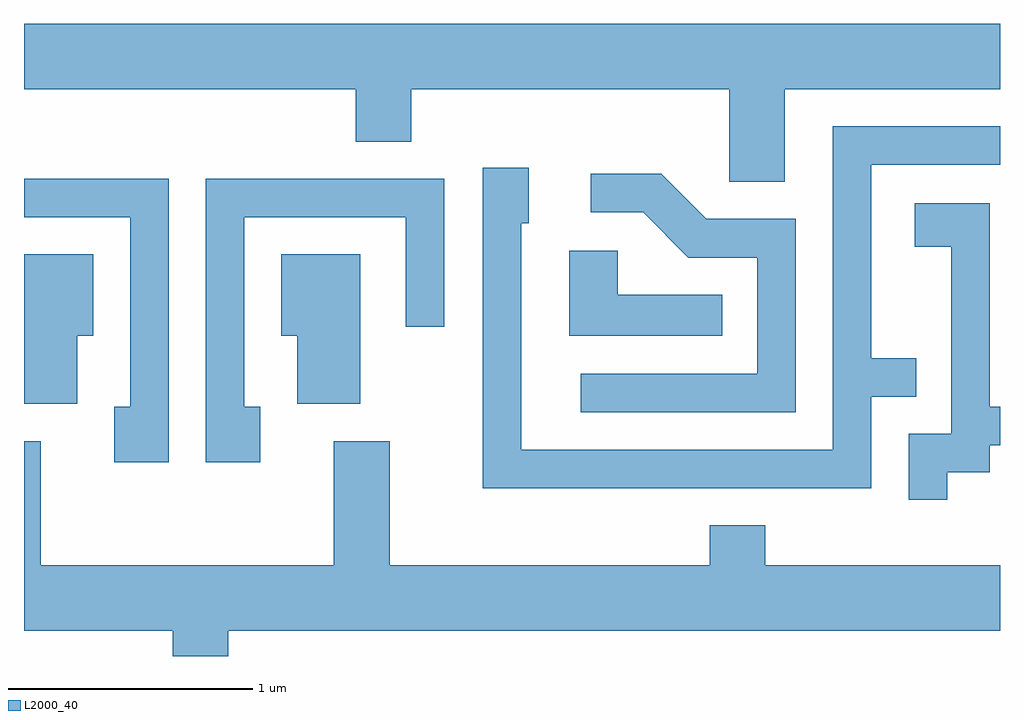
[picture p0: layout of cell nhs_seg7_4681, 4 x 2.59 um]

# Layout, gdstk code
import gdstk
lib = gdstk.Library(unit=1e-6, precision=1e-09)
def P(c, l, *ps):  # polygons
    for p in ps: c.add(gdstk.Polygon(p, *l))
L2000_40 = (2000, 40)

nhs_seg7_4681 = lib.new_cell('nhs_seg7_4681')
P(nhs_seg7_4681, L2000_40, [(332.729,1676.576),(333.611,1676.576),(333.611,1676.844),(329.611,1676.844),(329.611,1676.576),(330.971,1676.576),(330.971,1676.361),(331.199,1676.361),(331.199,1676.576),(332.501,1676.576),(332.501,1676.196),(332.729,1676.196)],
  [(333.084,1675.316),(333.268,1675.316),(333.268,1675.474),(333.084,1675.474),(333.084,1676.266),(333.611,1676.266),(333.611,1676.424),(332.926,1676.424),(332.926,1675.099),(331.649,1675.099),(331.649,1676.026),(331.679,1676.026),(331.679,1676.254),(331.491,1676.254),(331.491,1674.941),(333.084,1674.941)],
  [(332.774,1676.044),(332.407,1676.044),(332.222,1676.229),(331.933,1676.229),(331.933,1676.071),(332.149,1676.071),(332.334,1675.886),(332.616,1675.886),(332.616,1675.409),(331.893,1675.409),(331.893,1675.251),(332.774,1675.251)],
  [(330.579,1675.274),(330.514,1675.274),(330.514,1676.051),(331.176,1676.051),(331.176,1675.603),(331.334,1675.603),(331.334,1676.209),(330.356,1676.209),(330.356,1675.046),(330.579,1675.046)],
  [(330.204,1676.209),(329.611,1676.209),(329.611,1676.051),(330.046,1676.051),(330.046,1675.274),(329.981,1675.274),(329.981,1675.046),(330.204,1675.046)],
  [(333.394,1675.006),(333.569,1675.006),(333.569,1675.116),(333.611,1675.116),(333.611,1675.274),(333.569,1675.274),(333.569,1676.109),(333.261,1676.109),(333.261,1675.931),(333.411,1675.931),(333.411,1675.164),(333.236,1675.164),(333.236,1674.893),(333.394,1674.893)],
  [(332.473,1675.734),(332.044,1675.734),(332.044,1675.914),(331.846,1675.914),(331.846,1675.566),(332.473,1675.566)],
  [(330.989,1675.899),(330.666,1675.899),(330.666,1675.566),(330.731,1675.566),(330.731,1675.286),(330.989,1675.286)],
  [(329.829,1675.566),(329.894,1675.566),(329.894,1675.899),(329.611,1675.899),(329.611,1675.286),(329.829,1675.286)],
  [(330.449,1674.356),(333.611,1674.356),(333.611,1674.624),(332.649,1674.624),(332.649,1674.789),(332.421,1674.789),(332.421,1674.624),(331.109,1674.624),(331.109,1675.134),(330.881,1675.134),(330.881,1674.624),(329.679,1674.624),(329.679,1675.134),(329.611,1675.134),(329.611,1674.356),(330.221,1674.356),(330.221,1674.252),(330.449,1674.252)])

lib.write_gds('nhs_seg7_4681.gds')
